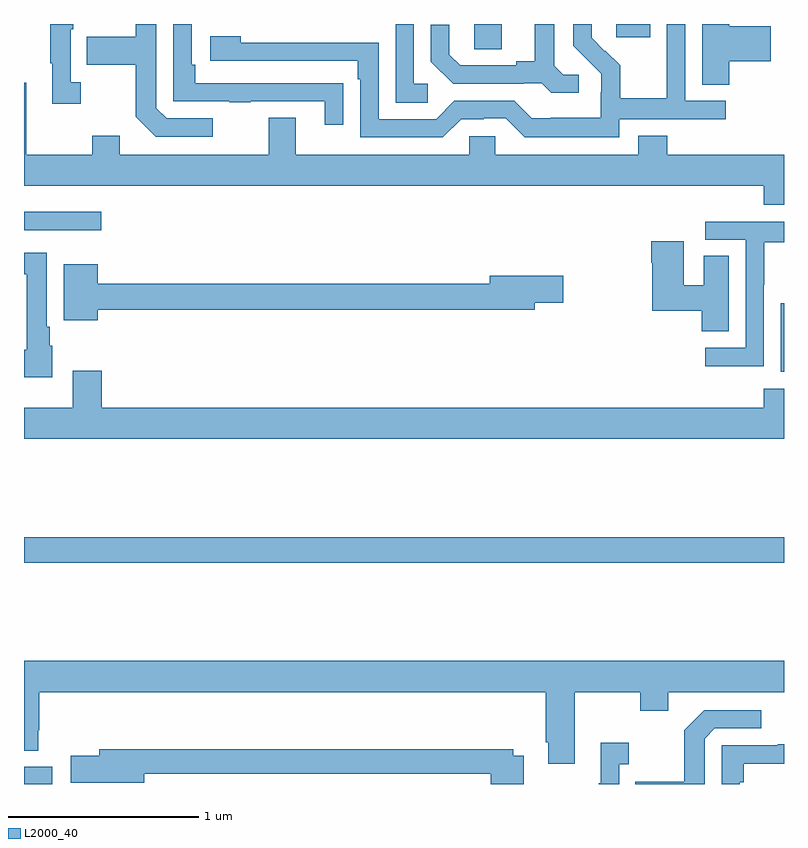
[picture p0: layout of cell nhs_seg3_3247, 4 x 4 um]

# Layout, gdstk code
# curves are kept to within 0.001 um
import gdstk
lib = gdstk.Library(unit=1e-6, precision=1e-09)
def R(c, l, rs):  # rectangles x0, y0, x1, y1
    for r in rs: c.add(gdstk.rectangle(r[:2], r[2:], *l))
def P(c, l, *ps):  # polygons
    for p in ps: c.add(gdstk.Polygon(p, *l))
L2000_40 = (2000, 40)

nhs_seg3_3247 = lib.new_cell('nhs_seg3_3247')
R(nhs_seg3_3247, L2000_40, [(279,732.4,279.148,732.49), (279,733.564,283,733.7), (282.983,734.57,283,734.931), (279,735.315,279.406,735.412), (281.37,736.267,281.515,736.4), (282.116,736.329,282.295,736.4)])
P(nhs_seg3_3247, L2000_40, [(279.994,735.903),(279.75,735.903),(279.696,735.957),(279.696,736.4),(279.588,736.4),(279.588,736.333),(279.331,736.333),(279.331,736.186),(279.588,736.186),(279.588,735.913),(279.693,735.807),(279.994,735.807)],
  [(281.125,736.086),(281.052,736.086),(281.052,736.4),(280.956,736.4),(280.956,735.985),(281.125,735.985)],
  [(280.679,736.088),(280.577,736.088),(280.577,736.089),(279.902,736.089),(279.902,736.186),(279.882,736.186),(279.882,736.4),(279.786,736.4),(279.786,735.993),(280.081,735.993),(280.081,735.988),(280.193,735.988),(280.193,735.993),(280.583,735.993),(280.583,735.87),(280.679,735.87)],
  [(282.132,735.9),(282.694,735.9),(282.694,735.996),(282.48,735.996),(282.48,736.4),(282.384,736.4),(282.384,736.232),(282.382,736.232),(282.382,736.009),(282.137,736.009),(282.137,736.183),(282.06,736.26),(282.057,736.257),(281.987,736.328),(281.987,736.4),(281.892,736.4),(281.892,736.286),(282.038,736.138),(282.038,736.041),(282.036,736.041),(282.036,735.907),(281.773,735.907),(281.773,735.903),(281.673,735.903),(281.58,735.996),(281.265,735.996),(281.169,735.9),(280.866,735.9),(280.866,736.302),(280.142,736.302),(280.142,736.336),(279.981,736.336),(279.981,736.206),(280.757,736.206),(280.757,736.109),(280.77,736.109),(280.77,735.804),(281.205,735.804),(281.301,735.9),(281.42,735.9),(281.42,735.903),(281.535,735.903),(281.635,735.803),(282.132,735.803)],
  [(281.92,736.134),(281.838,736.134),(281.791,736.181),(281.791,736.4),(281.687,736.4),(281.687,736.205),(281.591,736.205),(281.591,736.182),(281.296,736.182),(281.239,736.239),(281.239,736.396),(281.142,736.396),(281.142,736.202),(281.258,736.086),(281.63,736.086),(281.63,736.089),(281.724,736.089),(281.776,736.037),(281.92,736.037)],
  [(279.298,736.094),(279.246,736.094),(279.246,736.373),(279.259,736.373),(279.259,736.4),(279.138,736.4),(279.138,736.193),(279.149,736.193),(279.149,735.981),(279.298,735.981)],
  [(282.713,736.205),(282.931,736.205),(282.931,736.388),(282.713,736.388),(282.713,736.4),(282.569,736.4),(282.569,736.081),(282.713,736.081)],
  [(283,735.712),(282.386,735.712),(282.386,735.811),(282.233,735.811),(282.233,735.712),(281.481,735.712),(281.481,735.81),(281.343,735.81),(281.343,735.712),(280.429,735.712),(280.429,735.907),(280.289,735.907),(280.289,735.712),(279.505,735.712),(279.505,735.811),(279.358,735.811),(279.358,735.712),(279.013,735.712),(279.013,736.09),(279,736.09),(279,735.548),(282.893,735.548),(282.893,735.449),(283,735.449)],
  [(282.894,735.028),(282.897,735.028),(282.897,735.252),(283,735.252),(283,735.36),(282.585,735.36),(282.585,735.264),(282.798,735.264),(282.798,734.697),(282.585,734.697),(282.585,734.599),(282.894,734.599)],
  [(282.709,735.179),(282.578,735.179),(282.578,735.025),(282.472,735.025),(282.472,735.256),(282.302,735.256),(282.302,735.143),(282.307,735.143),(282.307,734.891),(282.566,734.891),(282.566,734.782),(282.709,734.782)],
  [(279.148,734.706),(279.136,734.706),(279.136,734.806),(279.121,734.806),(279.121,735.196),(279,735.196),(279,735.083),(279.014,735.083),(279.014,734.686),(279,734.686),(279,734.54),(279.148,734.54)],
  [(279.388,734.896),(281.689,734.896),(281.689,734.933),(281.839,734.933),(281.839,735.075),(281.45,735.075),(281.45,735.032),(279.388,735.032),(279.388,735.136),(279.209,735.136),(279.209,734.84),(279.388,734.84)],
  [(283,734.479),(282.893,734.479),(282.893,734.38),(279.41,734.38),(279.41,734.575),(279.257,734.575),(279.257,734.38),(279,734.38),(279,734.216),(283,734.216)],
  [(281.899,732.884),(282.244,732.884),(282.244,732.785),(282.391,732.785),(282.391,732.884),(283,732.884),(283,733.048),(279,733.048),(279,732.575),(279.075,732.575),(279.075,732.682),(279.08,732.682),(279.08,732.884),(281.747,732.884),(281.747,732.619),(281.759,732.619),(281.759,732.507),(281.899,732.507)],
  [(282.582,732.639),(282.636,732.693),(282.88,732.693),(282.88,732.789),(282.579,732.789),(282.474,732.683),(282.474,732.411),(282.217,732.411),(282.217,732.4),(282.582,732.4)],
  [(282.132,732.503),(282.184,732.503),(282.184,732.616),(282.035,732.616),(282.035,732.403),(282.024,732.403),(282.024,732.4),(282.132,732.4)],
  [(282.768,732.41),(282.788,732.41),(282.788,732.507),(283,732.507),(283,732.608),(282.967,732.608),(282.967,732.603),(282.672,732.603),(282.672,732.4),(282.768,732.4)],
  [(281.631,732.55),(281.574,732.55),(281.574,732.583),(279.395,732.583),(279.395,732.549),(279.246,732.549),(279.246,732.407),(279.634,732.407),(279.634,732.454),(281.456,732.454),(281.456,732.4),(281.631,732.4)])

lib.write_gds('nhs_seg3_3247.gds')
